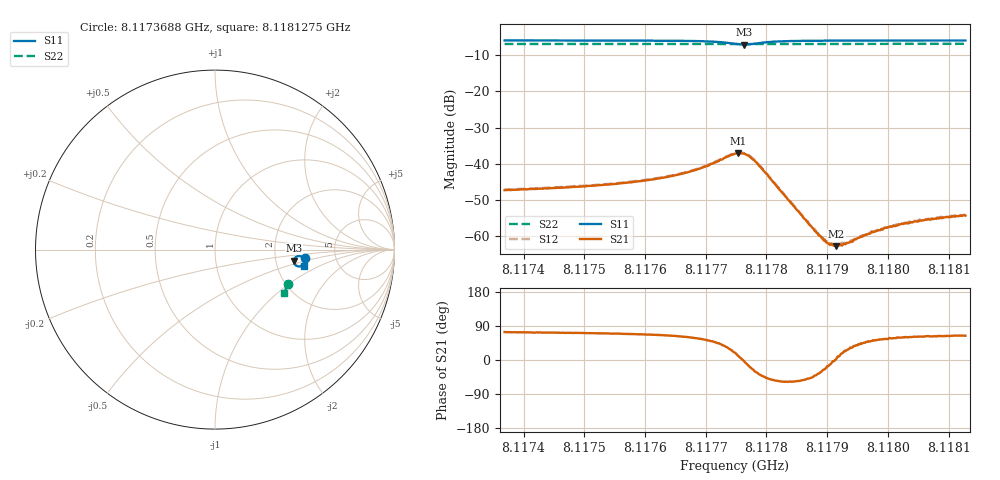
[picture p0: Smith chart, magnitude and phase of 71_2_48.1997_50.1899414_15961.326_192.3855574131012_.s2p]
#  HZ  S  RI  R  50.00
! Rohde & Schwarz Vector Network Analyzer
! Rohde-Schwarz,ZNB20-2Port,1311601062101988,3.16
! Created: UTC 3/20/2024, 11:39:11 AM
! freq[Hz]  re:S11  im:S11  re:S21  im:S21  re:S12  im:S12  re:S22  im:S22
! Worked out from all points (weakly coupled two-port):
!   401 points, 8.1173688 GHz to 8.1181275 GHz, reference 50 ohm
!   highest |S21| = -36.97 dB at 8.1177538 GHz (marker M1); lowest = -62.7 dB at 8.1179151 GHz (marker M2)
!   lowest |S11| = -7.1 dB at 8.1177633 GHz (marker M3), VSWR 2.59, Z = 126 - j19.2 ohm
!   |S11| at or under -10 dB: nowhere
!   |S22| runs from -6.9 to -6.9 dB; largest |S21 - S12| = 0.00057
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8.1173688e9  0.5034 -0.0465  0.00121 0.00415  0.00132 0.00423  0.4081 -0.1935
8.11749588e9  0.5015 -0.0582  0.00156 0.00461  0.00165 0.00469  0.4045 -0.2018
8.11755089e9  0.5 -0.064  0.00183 0.00494  0.00191 0.00507  0.4029 -0.2054
8.11762296e9  0.4968 -0.0736  0.00255 0.00575  0.00267 0.00582  0.4005 -0.21
8.1176571e9  0.4935 -0.0794  0.00334 0.00636  0.0035 0.00644  0.3994 -0.2124
8.11768366e9  0.4887 -0.085  0.00441 0.00699  0.00455 0.00709  0.3984 -0.2142
8.11774815e9  0.4464 -0.0839  0.013 0.00452  0.0133 0.00439  0.3947 -0.2174
8.11775384e9  0.4416 -0.0766  0.0139 0.00257  0.014 0.00251  0.3943 -0.2173
8.11776332e9  0.4394 -0.061  0.0138 -0.000942  0.014 -0.0012  0.3942 -0.2173
8.1177747e9  0.4479 -0.044  0.0113 -0.0043  0.0115 -0.00467  0.3945 -0.2172
8.11778798e9  0.4644 -0.0361  0.00735 -0.00574  0.00765 -0.00585  0.3949 -0.2179
8.11782022e9  0.4883 -0.0441  0.00256 -0.00376  0.00262 -0.00387  0.3949 -0.2203
8.11787523e9  0.4974 -0.0601  0.000911 -0.000939  0.000928 -0.000971  0.3933 -0.2246
8.11788661e9  0.4979 -0.0626  0.000825 -0.000584  0.000849 -0.000596  0.3929 -0.2253
8.11789799e9  0.4983 -0.0645  0.000772 -0.000297  0.000791 -0.000323  0.3926 -0.226
8.11790558e9  0.4982 -0.066  0.000747 -0.000145  0.000779 -0.000155  0.3923 -0.2267
8.11791506e9  0.4985 -0.0673  0.000735 3.44e-05  0.00075 5.1e-05  0.392 -0.2273
8.11793782e9  0.4987 -0.0708  0.000694 0.000448  0.000726 0.000441  0.3914 -0.2287
8.11797007e9  0.4986 -0.075  0.00071 0.000815  0.000732 0.000856  0.3901 -0.2307
8.11800231e9  0.4984 -0.0786  0.000709 0.00114  0.000735 0.00116  0.3893 -0.2327
8.11805542e9  0.4977 -0.0841  0.000782 0.00144  0.000804 0.00149  0.3875 -0.2361
8.1181275e9  0.4967 -0.0908  0.000843 0.00173  0.000877 0.00179  0.3851 -0.2405
